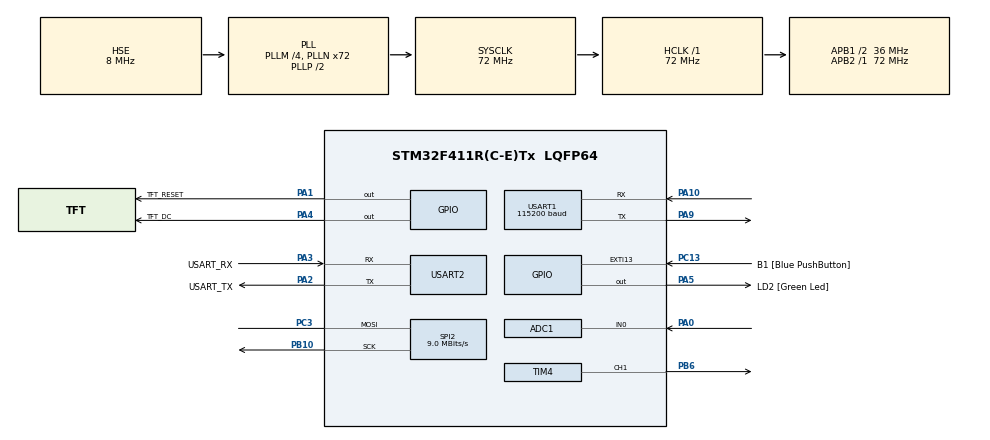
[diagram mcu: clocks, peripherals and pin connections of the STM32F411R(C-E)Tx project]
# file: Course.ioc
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ADC1.Channel-0\#ChannelRegularConversion=ADC_CHANNEL_0
ADC1.ContinuousConvMode=DISABLE
ADC1.EOCSelection=ADC_EOC_SINGLE_CONV
ADC1.ExternalTrigConv=ADC_SOFTWARE_START
ADC1.ExternalTrigConvEdge=ADC_EXTERNALTRIGCONVEDGE_NONE
ADC1.NbrOfConversionFlag=1
ADC1.Rank-0\#ChannelRegularConversion=1
ADC1.SamplingTime-0\#ChannelRegularConversion=ADC_SAMPLETIME_3CYCLES
ADC1.master=1
Mcu.Family=STM32F4
Mcu.Name=STM32F411R(C-E)Tx
Mcu.Package=LQFP64
NVIC.ADC_IRQn=true\:1\:0\:true\:false\:true\:true\:true\:true
NVIC.PriorityGroup=NVIC_PRIORITYGROUP_2
NVIC.TIM1_UP_TIM10_IRQn=true\:3\:0\:true\:false\:true\:true\:true\:true
NVIC.TIM4_IRQn=true\:0\:0\:false\:false\:true\:true\:true\:true
NVIC.USART1_IRQn=true\:3\:0\:true\:false\:true\:true\:true\:true
NVIC.USART2_IRQn=true\:3\:0\:true\:false\:true\:true\:true\:true
PA0-WKUP.Signal=ADCx_IN0
PA1.GPIO_Label=TFT_RESET
PA1.Signal=GPIO_Output
PA10.Mode=Asynchronous
PA10.Signal=USART1_RX
PA13.GPIO_Label=TMS
PA13.Signal=SYS_JTMS-SWDIO
PA14.GPIO_Label=TCK
PA14.Signal=SYS_JTCK-SWCLK
PA2.GPIO_Label=USART_TX
PA2.Mode=Asynchronous
PA2.Signal=USART2_TX
PA3.GPIO_Label=USART_RX
PA3.Mode=Asynchronous
PA3.Signal=USART2_RX
PA4.GPIO_Label=TFT_DC
PA4.Signal=GPIO_Output
PA5.GPIO_Label=LD2 [Green Led]
PA5.Signal=GPIO_Output
PA9.Mode=Asynchronous
PA9.Signal=USART1_TX
PB10.Mode=Simplex_Bidirectional_Master
PB10.Signal=SPI2_SCK
PB3.GPIO_Label=SWO
PB3.Signal=SYS_JTDO-SWO
PB6.Signal=S_TIM4_CH1
PC13-ANTI_TAMP.GPIO_Label=B1 [Blue PushButton]
PC13-ANTI_TAMP.GPIO_ModeDefaultEXTI=GPIO_MODE_IT_FALLING
PC13-ANTI_TAMP.Signal=GPXTI13
PC14-OSC32_IN.Mode=LSE-External-Oscillator
PC14-OSC32_IN.Signal=RCC_OSC32_IN
PC15-OSC32_OUT.Mode=LSE-External-Oscillator
PC15-OSC32_OUT.Signal=RCC_OSC32_OUT
PC3.Mode=Simplex_Bidirectional_Master
PC3.Signal=SPI2_MOSI
PH0\ -\ OSC_IN.Mode=HSE-External-Clock-Source
PH0\ -\ OSC_IN.Signal=RCC_OSC_IN
PH1\ -\ OSC_OUT.Mode=HSE-External-Clock-Source
PH1\ -\ OSC_OUT.Signal=RCC_OSC_OUT
ProjectManager.HeapSize=0x200
ProjectManager.StackSize=0x400
ProjectManager.TargetToolchain=STM32CubeIDE
RCC.48MHZClocksFreq_Value=48000000
RCC.AHBFreq_Value=72000000
RCC.APB1CLKDivider=RCC_HCLK_DIV2
RCC.APB1Freq_Value=36000000
RCC.APB1TimFreq_Value=72000000
RCC.APB2Freq_Value=72000000
RCC.APB2TimFreq_Value=72000000
RCC.CortexFreq_Value=72000000
RCC.FLatency-AdvancedSettings=FLASH_LATENCY_2
RCC.HCLKFreq_Value=72000000
RCC.HSE_VALUE=8000000
RCC.HSI_VALUE=16000000
RCC.PLLM=4
RCC.PLLN=72
RCC.PLLQ=3
RCC.PLLSourceVirtual=RCC_PLLSOURCE_HSE
RCC.SYSCLKFreq_VALUE=72000000
RCC.SYSCLKSource=RCC_SYSCLKSOURCE_PLLCLK
RCC.VCOOutputFreq_Value=144000000
SH.ADCx_IN0.0=ADC1_IN0,IN0
SH.S_TIM4_CH1.0=TIM4_CH1,PWM Generation1 CH1
SPI2.BaudRatePrescaler=SPI_BAUDRATEPRESCALER_4
SPI2.CLKPhase=SPI_PHASE_2EDGE
SPI2.CLKPolarity=SPI_POLARITY_HIGH
SPI2.CalculateBaudRate=9.0 MBits/s
SPI2.Direction=SPI_DIRECTION_1LINE
SPI2.Mode=SPI_MODE_MASTER
SPI2.VirtualType=VM_MASTER
TIM10.AutoReloadPreload=TIM_AUTORELOAD_PRELOAD_ENABLE
TIM10.Period=1000-1
TIM10.Prescaler=7200-1
TIM4.Channel-PWM\ Generation1\ CH1=TIM_CHANNEL_1
TIM4.Period=1000-1
TIM4.Prescaler=719-1
USART1.BaudRate=115200
USART1.VirtualMode=VM_ASYNC
USART2.VirtualMode=VM_ASYNC
VP_TIM10_VS_ClockSourceINT.Mode=Enable_Timer
board=NUCLEO-F411RE

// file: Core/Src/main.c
/* USER CODE BEGIN Header */
/**
 ******************************************************************************
 * @file           : main.c
 * @brief          : Main program body
 ******************************************************************************
 * @attention
 *
 * Copyright (c) 2025 STMicroelectronics.
 * All rights reserved.
 *
 * This software is licensed under terms that can be found in the LICENSE file
 * in the root directory of this software component.
 * If no LICENSE file comes with this software, it is provided AS-IS.
 *
 ******************************************************************************
 */
/* USER CODE END Header */
#include "main.h"

/* USER CODE BEGIN Includes */
// ============================================================================
#include <stdio.h>
#include <string.h>
#include <stdbool.h>
#include <stdlib.h>
#include "tft_st7789.h"
#include "pid_controller.h"
#include "display_manager.h"
#include "uart_manager.h"
// ============================================================================
/* USER CODE END Includes */

ADC_HandleTypeDef hadc1;

SPI_HandleTypeDef hspi2;

TIM_HandleTypeDef htim4;
TIM_HandleTypeDef htim10;

UART_HandleTypeDef huart1;
UART_HandleTypeDef huart2;

/* USER CODE BEGIN PV */
// ============================================================================
volatile uint8_t display_update_needed = 0;

// ============================================================================
/* USER CODE END PV */

void SystemClock_Config(void);
static void MX_GPIO_Init(void);
static void MX_ADC1_Init(void);
static void MX_TIM4_Init(void);
static void MX_USART2_UART_Init(void);
static void MX_USART1_UART_Init(void);
static void MX_SPI2_Init(void);
static void MX_TIM10_Init(void);

/* USER CODE BEGIN 0 */
// ============================================================================
//------------------------------------------------------------------------
//
//------------------------------------------------------------------------
void HAL_ADC_ConvCpltCallback(ADC_HandleTypeDef *hadc) {
	static uint16_t adc_raw = 0;
	// 1. Получаем значение АЦП
	adc_raw = HAL_ADC_GetValue(&hadc1);

	// 2. Конвертируем в милливольты
	int32_t feedback_mv = adc_to_millivolts(adc_raw);
	feedback = feedback_mv;  // Сохраняем для отладки (в милливольтах!)

	// 3. Уставка тоже должна быть в милливольтах
	// (setpoint уже в милливольтах после преобразования в UART обработчике)

	// 4. Вычисляем ПИД с милливольтами
	int32_t pid_output = pid_update_mv(setpoint, feedback_mv);

	// 5. Обновляем ШИМ
	__HAL_TIM_SET_COMPARE(&htim4, TIM_CHANNEL_1, (uint16_t )pid_output);

}
//------------------------------------------------------------------------
//
//------------------------------------------------------------------------
// Обработчик прерывания таймеров
void HAL_TIM_PeriodElapsedCallback(TIM_HandleTypeDef *htim) {
	if (htim->Instance == TIM4) {
		// Запускаем АЦП преобразование
		HAL_ADC_Start_IT(&hadc1);
	}
}
// ============================================================================
/* USER CODE END 0 */

int main(void) {

	/* MCU Configuration--------------------------------------------------------*/

	/* Reset of all peripherals, Initializes the Flash interface and the Systick. */
	HAL_Init();

	/* Configure the system clock */
	SystemClock_Config();

	/* Initialize all configured peripherals */
	MX_GPIO_Init();
	MX_ADC1_Init();
	MX_TIM4_Init();
	MX_USART2_UART_Init();
	MX_USART1_UART_Init();
	MX_SPI2_Init();
	MX_TIM10_Init();
	/* USER CODE BEGIN 2 */
	// ========================================================================
	// Приветствие в USB - Все ли в порядке с отладочным UART
//	HAL_UART_Transmit(&huart2, (uint8_t*) "Ready\r\n", 7, 100);
	// Включаем прием по прерыванию
	HAL_UART_Receive_IT(&huart1, &rx_data, 1);

	// Запускаем  PWM
	HAL_TIM_PWM_Start(&htim4, TIM_CHANNEL_1);

	// Запуск Таймера 4 с прерываниями - Запускаем АЦП преобразование
	HAL_TIM_Base_Start_IT(&htim4);

	// Запуск Таймера 10 с прерываниями - Обновление дисплея
	HAL_TIM_Base_Start_IT(&htim10);

	// Инициализация ПИД
	setpoint = 1650;  // 1650 милливольт = 1.65 Вольт

	// Инициализация дисплея
	TFT_Init(&hspi2);
	DisplayPIDInterface(); // Или DisplayPIDInterfaceMono2x

	// ========================================================================
	/* USER CODE END 2 */

	/* Infinite loop */
	/* USER CODE BEGIN WHILE */

	while (1) {
		// ====================================================================
		// Установку флага смотри в stm32f4xx_it.c
		if (display_update_needed) {
			display_update_needed = 0;

			// Вычисляем error_percent
			int16_t error_percent = 0;
			if (setpoint != 0) {
				error_percent = (error * 1000) / (setpoint / 2);
				if (error_percent > 1000)
					error_percent = 1000;
				if (error_percent < -1000)
					error_percent = -1000;
			}

			// Обновляем дисплей новой функцией
			UpdatePIDDisplayMono2x(setpoint, feedback, error, error_percent,
					output);
		}

		// --------------------------------------------------------------------

		// Отправка данных для Plotter (каждые 50 мс)
		static uint32_t last_plot_time = 0;
		if (HAL_GetTick() - last_plot_time >= 50) {
			char plot_data[50];
			uint16_t sp_plot = millivolts_to_plotter(setpoint);
			uint16_t fb_plot = millivolts_to_plotter(feedback);
			uint16_t out_plot = __HAL_TIM_GET_COMPARE(&htim4, TIM_CHANNEL_1)
					* 1023 / 1000;

			snprintf(plot_data, sizeof(plot_data), "%u,%u,%u\r\n", sp_plot,
					fb_plot, out_plot);
			HAL_UART_Transmit(&huart2, (uint8_t*) plot_data, strlen(plot_data),
					100);
			last_plot_time = HAL_GetTick();
		}

		// Индикация работы светодиодом (каждые 500 мс)
		static uint32_t last_led_time = 0;
		if (HAL_GetTick() - last_led_time >= 500) {
			HAL_GPIO_TogglePin(LD2_GPIO_Port, LD2_Pin);
			last_led_time = HAL_GetTick();
		}
		// ====================================================================
		/* USER CODE END WHILE */

	}
}

void SystemClock_Config(void) {
	RCC_OscInitTypeDef RCC_OscInitStruct = { 0 };
	RCC_ClkInitTypeDef RCC_ClkInitStruct = { 0 };

	/** Configure the main internal regulator output voltage
	 */
	__HAL_RCC_PWR_CLK_ENABLE();
	__HAL_PWR_VOLTAGESCALING_CONFIG(PWR_REGULATOR_VOLTAGE_SCALE1);

	/** Initializes the RCC Oscillators according to the specified parameters
	 * in the RCC_OscInitTypeDef structure.
	 */
	RCC_OscInitStruct.OscillatorType = RCC_OSCILLATORTYPE_HSE;
	RCC_OscInitStruct.HSEState = RCC_HSE_BYPASS;
	RCC_OscInitStruct.PLL.PLLState = RCC_PLL_ON;
	RCC_OscInitStruct.PLL.PLLSource = RCC_PLLSOURCE_HSE;
	RCC_OscInitStruct.PLL.PLLM = 4;
	RCC_OscInitStruct.PLL.PLLN = 72;
	RCC_OscInitStruct.PLL.PLLP = RCC_PLLP_DIV2;
	RCC_OscInitStruct.PLL.PLLQ = 3;
	if (HAL_RCC_OscConfig(&RCC_OscInitStruct) != HAL_OK) {
		Error_Handler();
	}

	/** Initializes the CPU, AHB and APB buses clocks
	 */
	RCC_ClkInitStruct.ClockType = RCC_CLOCKTYPE_HCLK | RCC_CLOCKTYPE_SYSCLK
			| RCC_CLOCKTYPE_PCLK1 | RCC_CLOCKTYPE_PCLK2;
	RCC_ClkInitStruct.SYSCLKSource = RCC_SYSCLKSOURCE_PLLCLK;
	RCC_ClkInitStruct.AHBCLKDivider = RCC_SYSCLK_DIV1;
	RCC_ClkInitStruct.APB1CLKDivider = RCC_HCLK_DIV2;
	RCC_ClkInitStruct.APB2CLKDivider = RCC_HCLK_DIV1;

	if (HAL_RCC_ClockConfig(&RCC_ClkInitStruct, FLASH_LATENCY_2) != HAL_OK) {
		Error_Handler();
	}
}

static void MX_ADC1_Init(void) {

	ADC_ChannelConfTypeDef sConfig = { 0 };

	/** Configure the global features of the ADC (Clock, Resolution, Data Alignment and number of conversion)
	 */
	hadc1.Instance = ADC1;
	hadc1.Init.ClockPrescaler = ADC_CLOCK_SYNC_PCLK_DIV2;
	hadc1.Init.Resolution = ADC_RESOLUTION_12B;
	hadc1.Init.ScanConvMode = DISABLE;
	hadc1.Init.ContinuousConvMode = DISABLE;
	hadc1.Init.DiscontinuousConvMode = DISABLE;
	hadc1.Init.ExternalTrigConvEdge = ADC_EXTERNALTRIGCONVEDGE_NONE;
	hadc1.Init.ExternalTrigConv = ADC_SOFTWARE_START;
	hadc1.Init.DataAlign = ADC_DATAALIGN_RIGHT;
	hadc1.Init.NbrOfConversion = 1;
	hadc1.Init.DMAContinuousRequests = DISABLE;
	hadc1.Init.EOCSelection = ADC_EOC_SINGLE_CONV;
	if (HAL_ADC_Init(&hadc1) != HAL_OK) {
		Error_Handler();
	}

	/** Configure for the selected ADC regular channel its corresponding rank in the sequencer and its sample time.
	 */
	sConfig.Channel = ADC_CHANNEL_0;
	sConfig.Rank = 1;
	sConfig.SamplingTime = ADC_SAMPLETIME_3CYCLES;
	if (HAL_ADC_ConfigChannel(&hadc1, &sConfig) != HAL_OK) {
		Error_Handler();
	}

}

static void MX_SPI2_Init(void) {

	/* SPI2 parameter configuration*/
	hspi2.Instance = SPI2;
	hspi2.Init.Mode = SPI_MODE_MASTER;
	hspi2.Init.Direction = SPI_DIRECTION_1LINE;
	hspi2.Init.DataSize = SPI_DATASIZE_8BIT;
	hspi2.Init.CLKPolarity = SPI_POLARITY_HIGH;
	hspi2.Init.CLKPhase = SPI_PHASE_2EDGE;
	hspi2.Init.NSS = SPI_NSS_SOFT;
	hspi2.Init.BaudRatePrescaler = SPI_BAUDRATEPRESCALER_4;
	hspi2.Init.FirstBit = SPI_FIRSTBIT_MSB;
	hspi2.Init.TIMode = SPI_TIMODE_DISABLE;
	hspi2.Init.CRCCalculation = SPI_CRCCALCULATION_DISABLE;
	hspi2.Init.CRCPolynomial = 10;
	if (HAL_SPI_Init(&hspi2) != HAL_OK) {
		Error_Handler();
	}

}

static void MX_TIM4_Init(void) {

	TIM_MasterConfigTypeDef sMasterConfig = { 0 };
	TIM_OC_InitTypeDef sConfigOC = { 0 };

	htim4.Instance = TIM4;
	htim4.Init.Prescaler = 719 - 1;
	htim4.Init.CounterMode = TIM_COUNTERMODE_UP;
	htim4.Init.Period = 1000 - 1;
	htim4.Init.ClockDivision = TIM_CLOCKDIVISION_DIV1;
	htim4.Init.AutoReloadPreload = TIM_AUTORELOAD_PRELOAD_DISABLE;
	if (HAL_TIM_PWM_Init(&htim4) != HAL_OK) {
		Error_Handler();
	}
	sMasterConfig.MasterOutputTrigger = TIM_TRGO_RESET;
	sMasterConfig.MasterSlaveMode = TIM_MASTERSLAVEMODE_DISABLE;
	if (HAL_TIMEx_MasterConfigSynchronization(&htim4, &sMasterConfig)
			!= HAL_OK) {
		Error_Handler();
	}
	sConfigOC.OCMode = TIM_OCMODE_PWM1;
	sConfigOC.Pulse = 0;
	sConfigOC.OCPolarity = TIM_OCPOLARITY_HIGH;
	sConfigOC.OCFastMode = TIM_OCFAST_DISABLE;
	if (HAL_TIM_PWM_ConfigChannel(&htim4, &sConfigOC, TIM_CHANNEL_1)
			!= HAL_OK) {
		Error_Handler();
	}
	HAL_TIM_MspPostInit(&htim4);

}

static void MX_TIM10_Init(void) {

	htim10.Instance = TIM10;
	htim10.Init.Prescaler = 7200 - 1;
	htim10.Init.CounterMode = TIM_COUNTERMODE_UP;
	htim10.Init.Period = 1000 - 1;
	htim10.Init.ClockDivision = TIM_CLOCKDIVISION_DIV1;
	htim10.Init.AutoReloadPreload = TIM_AUTORELOAD_PRELOAD_ENABLE;
	if (HAL_TIM_Base_Init(&htim10) != HAL_OK) {
		Error_Handler();
	}

}

static void MX_USART1_UART_Init(void) {

	huart1.Instance = USART1;
	huart1.Init.BaudRate = 115200;
	huart1.Init.WordLength = UART_WORDLENGTH_8B;
	huart1.Init.StopBits = UART_STOPBITS_1;
	huart1.Init.Parity = UART_PARITY_NONE;
	huart1.Init.Mode = UART_MODE_TX_RX;
	huart1.Init.HwFlowCtl = UART_HWCONTROL_NONE;
	huart1.Init.OverSampling = UART_OVERSAMPLING_16;
	if (HAL_UART_Init(&huart1) != HAL_OK) {
		Error_Handler();
	}

}

static void MX_USART2_UART_Init(void) {

	huart2.Instance = USART2;
	huart2.Init.BaudRate = 115200;
	huart2.Init.WordLength = UART_WORDLENGTH_8B;
	huart2.Init.StopBits = UART_STOPBITS_1;
	huart2.Init.Parity = UART_PARITY_NONE;
	huart2.Init.Mode = UART_MODE_TX_RX;
	huart2.Init.HwFlowCtl = UART_HWCONTROL_NONE;
	huart2.Init.OverSampling = UART_OVERSAMPLING_16;
	if (HAL_UART_Init(&huart2) != HAL_OK) {
		Error_Handler();
	}

}

static void MX_GPIO_Init(void) {
	GPIO_InitTypeDef GPIO_InitStruct = { 0 };

	/* GPIO Ports Clock Enable */
	__HAL_RCC_GPIOC_CLK_ENABLE();
	__HAL_RCC_GPIOH_CLK_ENABLE();
	__HAL_RCC_GPIOA_CLK_ENABLE();
	__HAL_RCC_GPIOB_CLK_ENABLE();

	/*Configure GPIO pin Output Level */
	HAL_GPIO_WritePin(GPIOA, TFT_RESET_Pin | TFT_DC_Pin | LD2_Pin,
			GPIO_PIN_RESET);

	/*Configure GPIO pin : B1_Pin */
	GPIO_InitStruct.Pin = B1_Pin;
	GPIO_InitStruct.Mode = GPIO_MODE_IT_FALLING;
	GPIO_InitStruct.Pull = GPIO_NOPULL;
	HAL_GPIO_Init(B1_GPIO_Port, &GPIO_InitStruct);

	/*Configure GPIO pins : TFT_RESET_Pin TFT_DC_Pin LD2_Pin */
	GPIO_InitStruct.Pin = TFT_RESET_Pin | TFT_DC_Pin | LD2_Pin;
	GPIO_InitStruct.Mode = GPIO_MODE_OUTPUT_PP;
	GPIO_InitStruct.Pull = GPIO_NOPULL;
	GPIO_InitStruct.Speed = GPIO_SPEED_FREQ_LOW;
	HAL_GPIO_Init(GPIOA, &GPIO_InitStruct);

}

/* USER CODE BEGIN 4 */

//void HAL_ADC_ConvCpltCallback(ADC_HandleTypeDef *hadc) {
//	adc_data_ready = 1;
//}
//
//// Обработчик прерывания UART
//void HAL_UART_RxCpltCallback(UART_HandleTypeDef *huart) {
//	if (huart->Instance == USART1) {
//		// Отправляем "PONG" на любой символ
//		HAL_UART_Transmit(&huart1, (uint8_t*) "PONG\r\n", 6, 100);
//
//		// Снова включаем прием
//		HAL_UART_Receive_IT(&huart1, &rx_byte, 1);
//	}
//}
/* USER CODE END 4 */

void Error_Handler(void) {
	__disable_irq();
	while (1) {
	}
}
